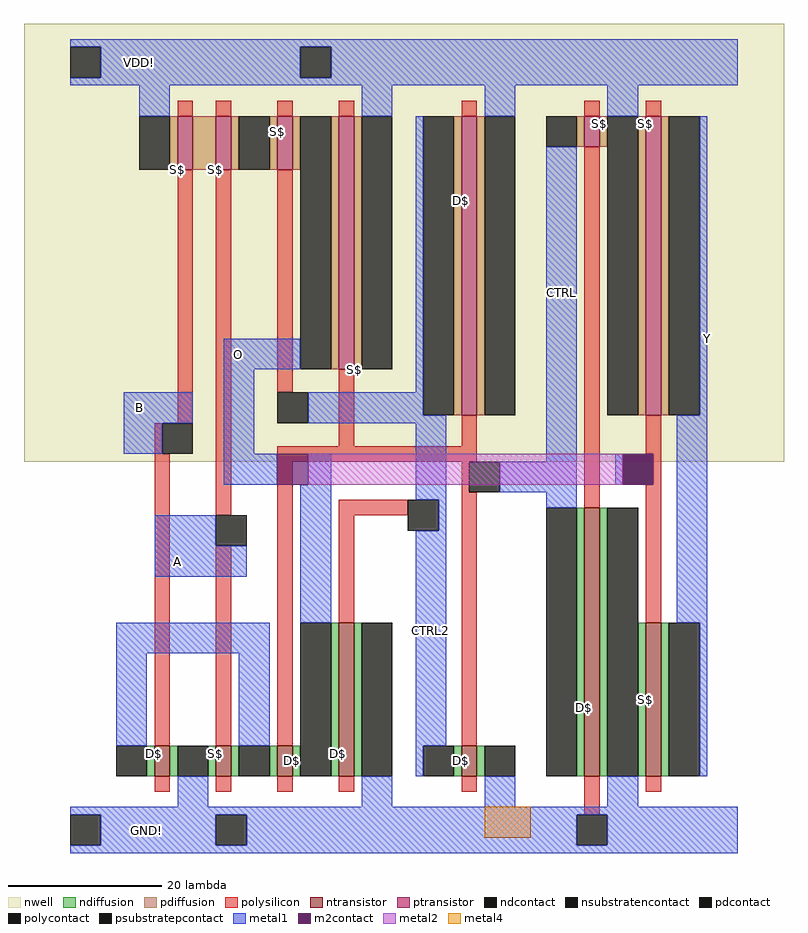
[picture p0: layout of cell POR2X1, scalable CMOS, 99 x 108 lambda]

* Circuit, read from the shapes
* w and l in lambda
.subckt POR2X1 VDD! GND! B A Y
M1 GND! B n1 GND! nfet w=4 l=2
M2 n1 A GND! GND! nfet w=4 l=2
M3 O CTRL n1 GND! nfet w=4 l=2
M4 GND! CTRL2 O GND! nfet w=20 l=2
M5 GND! CTRL CTRL2 GND! nfet w=4 l=2
M6 GND! GND! CTRL GND! nfet w=35 l=2
M7 Y O GND! GND! nfet w=20 l=2
M8 n2 B VDD! VDD! pfet w=7 l=2
M9 n3 A n2 VDD! pfet w=7 l=2
M10 O CTRL2 n3 VDD! pfet w=7 l=2
M11 VDD! CTRL O VDD! pfet w=33 l=2
M12 VDD! CTRL CTRL2 VDD! pfet w=39 l=2
M13 VDD! GND! CTRL VDD! pfet w=4 l=2
M14 Y O VDD! VDD! pfet w=39 l=2
.ends

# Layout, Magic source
magic
tech scmos
<< nwell >>
rect -8 48 91 105
<< ntransistor >>
rect 9 7 11 11
rect 17 7 19 11
rect 25 7 27 11
rect 33 7 35 27
rect 49 7 51 11
rect 65 7 67 42
rect 73 7 75 27
<< ptransistor >>
rect 12 86 14 93
rect 17 86 19 93
rect 25 86 27 93
rect 33 60 35 93
rect 49 54 51 93
rect 65 89 67 93
rect 73 54 75 93
<< ndiffusion >>
rect 8 7 9 11
rect 11 7 12 11
rect 16 7 17 11
rect 19 7 20 11
rect 24 7 25 11
rect 27 7 28 11
rect 32 7 33 27
rect 35 7 36 27
rect 48 7 49 11
rect 51 7 52 11
rect 64 7 65 42
rect 67 7 68 42
rect 72 7 73 27
rect 75 7 76 27
<< pdiffusion >>
rect 11 86 12 93
rect 14 86 17 93
rect 19 86 20 93
rect 24 86 25 93
rect 27 86 28 93
rect 32 60 33 93
rect 35 60 36 93
rect 48 54 49 93
rect 51 54 52 93
rect 64 89 65 93
rect 67 89 68 93
rect 72 54 73 93
rect 75 54 76 93
<< ndcontact >>
rect 4 7 8 11
rect 12 7 16 11
rect 20 7 24 11
rect 28 7 32 27
rect 36 7 40 27
rect 44 7 48 11
rect 52 7 56 11
rect 60 7 64 42
rect 68 7 72 42
rect 76 7 80 27
<< pdcontact >>
rect 7 86 11 93
rect 20 86 24 93
rect 28 60 32 93
rect 36 60 40 93
rect 44 54 48 93
rect 52 54 56 93
rect 60 89 64 93
rect 68 54 72 93
rect 76 54 80 93
<< psubstratepcontact >>
rect -2 -2 2 2
rect 17 -2 21 2
<< nsubstratencontact >>
rect -2 98 2 102
rect 28 98 32 102
<< polysilicon >>
rect 12 93 14 95
rect 17 93 19 95
rect 25 93 27 95
rect 33 93 35 95
rect 49 93 51 95
rect 65 93 67 95
rect 73 93 75 95
rect 12 53 14 86
rect 9 49 10 53
rect 9 11 11 49
rect 17 41 19 86
rect 25 57 27 86
rect 33 50 35 60
rect 49 50 51 54
rect 25 48 51 50
rect 17 11 19 37
rect 25 11 27 48
rect 49 44 50 48
rect 33 41 42 43
rect 33 27 35 41
rect 49 11 51 44
rect 65 42 67 89
rect 73 49 75 54
rect 74 45 75 49
rect 73 27 75 45
rect 9 5 11 7
rect 17 5 19 7
rect 25 5 27 7
rect 33 5 35 7
rect 49 5 51 7
rect 65 2 67 7
rect 73 5 75 7
<< polycontact >>
rect 10 49 14 53
rect 25 53 29 57
rect 17 37 21 41
rect 50 44 54 48
rect 42 39 46 43
rect 70 45 74 49
rect 64 -2 68 2
<< metal1 >>
rect -2 102 85 103
rect 2 98 28 102
rect 32 98 85 102
rect -2 97 85 98
rect 7 93 11 97
rect 36 93 40 97
rect 52 93 56 97
rect 68 93 72 97
rect 18 60 28 64
rect 5 53 14 57
rect 5 49 10 53
rect 18 49 22 60
rect 43 57 44 93
rect 29 54 44 57
rect 29 53 47 54
rect 18 45 25 49
rect 29 45 32 49
rect 9 37 17 41
rect 9 33 21 37
rect 28 27 32 45
rect 43 43 47 53
rect 60 48 64 89
rect 80 54 81 93
rect 54 44 64 48
rect 69 45 70 49
rect 46 39 47 43
rect 4 23 24 27
rect 4 11 8 23
rect 20 11 24 23
rect 43 11 47 39
rect 60 42 64 44
rect 43 7 44 11
rect 77 27 81 54
rect 80 7 81 27
rect 12 3 16 7
rect 36 3 40 7
rect 52 3 56 7
rect 68 3 72 7
rect -2 2 85 3
rect 2 -2 17 2
rect 21 -2 64 2
rect 68 -2 85 2
rect -2 -3 85 -2
<< m2contact >>
rect 25 45 29 49
rect 70 45 74 49
<< metal2 >>
rect 29 45 70 49
<< metal4 >>
rect 52 -1 58 3
<< labels >>
rlabel ptransistor 49 82 49 82 1 D$
rlabel ptransistor 51 82 51 82 1 S$
rlabel metal1 45 26 45 26 1 CTRL2
rlabel ntransistor 49 9 49 9 1 D$
rlabel ntransistor 51 9 51 9 1 S$
rlabel ntransistor 73 17 73 17 1 S$
rlabel ntransistor 75 17 75 17 1 D$
rlabel ptransistor 73 92 73 92 1 S$
rlabel ptransistor 75 92 75 92 1 D$
rlabel metal1 81 62 81 66 1 Y
port 5 n signal output
rlabel ptransistor 67 92 67 92 1 S$
rlabel ptransistor 65 92 65 92 1 D$
rlabel ntransistor 65 16 65 16 1 D$
rlabel ntransistor 67 16 67 16 1 S$
rlabel metal1 62 70 62 70 1 CTRL
rlabel metal1 20 62 20 62 1 O
rlabel metal1 7 100 7 100 1 VDD!
port 1 n power bidirectional
rlabel ptransistor 25 91 25 91 1 S$
rlabel ptransistor 27 91 27 91 1 D$
rlabel ntransistor 33 10 33 10 1 D$
rlabel ntransistor 35 9 35 9 1 S$
rlabel ntransistor 27 9 27 9 1 D$
rlabel ntransistor 25 9 25 9 1 S$
rlabel ntransistor 9 10 9 10 1 D$
rlabel ntransistor 17 10 17 10 1 S$
rlabel ntransistor 11 9 11 9 1 S$
rlabel ntransistor 19 9 19 9 1 D$
rlabel ptransistor 12 86 12 86 1 S$
rlabel ptransistor 14 86 14 86 1 D$
rlabel ptransistor 17 86 17 86 1 S$
rlabel ptransistor 19 86 19 86 1 D$
rlabel ptransistor 35 60 35 60 1 S$
rlabel ptransistor 33 60 33 60 1 D$
rlabel metal1 8 0 8 0 1 GND!
port 2 n power bidirectional
rlabel metal1 7 53 7 57 1 B
port 3 n signal input
rlabel metal1 12 33 12 37 1 A
port 4 n signal input
<< end >>
